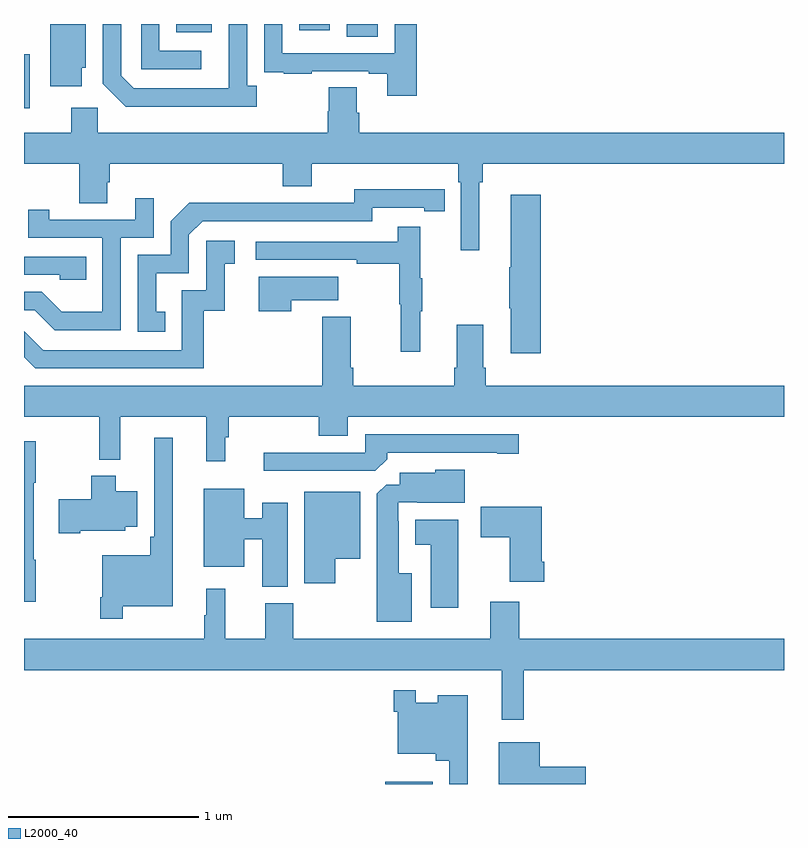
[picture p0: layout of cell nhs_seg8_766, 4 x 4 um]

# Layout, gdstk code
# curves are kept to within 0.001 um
import gdstk
lib = gdstk.Library(unit=1e-6, precision=1e-09)
def R(c, l, rs):  # rectangles x0, y0, x1, y1
    for r in rs: c.add(gdstk.rectangle(r[:2], r[2:], *l))
def P(c, l, *ps):  # polygons
    for p in ps: c.add(gdstk.Polygon(p, *l))
L2000_40 = (2000, 40)

nhs_seg8_766 = lib.new_cell('nhs_seg8_766')
R(nhs_seg8_766, L2000_40, [(162.902,1115.9,163.15,1115.911), (161,1119.456,161.029,1119.742), (162.698,1119.832,162.862,1119.9), (161.801,1119.857,161.989,1119.9), (162.449,1119.867,162.61,1119.9)])
P(nhs_seg8_766, L2000_40, [(161.305,1119.669),(161.326,1119.669),(161.326,1119.9),(161.139,1119.9),(161.139,1119.572),(161.305,1119.572)],
  [(162.226,1119.574),(162.174,1119.574),(162.174,1119.9),(162.078,1119.9),(162.077,1119.561),(161.577,1119.561),(161.511,1119.627),(161.511,1119.9),(161.415,1119.9),(161.415,1119.585),(161.536,1119.464),(162.226,1119.464)],
  [(161.932,1119.759),(161.712,1119.759),(161.712,1119.9),(161.616,1119.9),(161.616,1119.663),(161.932,1119.663)],
  [(163.067,1119.9),(162.951,1119.9),(162.951,1119.747),(162.36,1119.747),(162.36,1119.9),(162.264,1119.9),(162.264,1119.754),(162.265,1119.754),(162.265,1119.645),(162.367,1119.645),(162.367,1119.639),(162.515,1119.639),(162.515,1119.651),(162.815,1119.651),(162.815,1119.639),(162.911,1119.639),(162.911,1119.522),(163.067,1119.522)],
  [(163.396,1119.068),(163.415,1119.068),(163.415,1119.164),(165,1119.164),(165,1119.328),(162.764,1119.328),(162.764,1119.434),(162.751,1119.434),(162.751,1119.566),(162.604,1119.566),(162.604,1119.441),(162.599,1119.441),(162.599,1119.328),(161.388,1119.328),(161.388,1119.46),(161.249,1119.46),(161.249,1119.328),(161,1119.328),(161,1119.164),(161.29,1119.164),(161.29,1118.956),(161.437,1118.956),(161.437,1119.066),(161.45,1119.066),(161.45,1119.164),(162.362,1119.164),(162.362,1119.047),(162.514,1119.047),(162.514,1119.164),(163.286,1119.164),(163.286,1119.068),(163.299,1119.068),(163.299,1118.709),(163.396,1118.709)],
  [(161.744,1118.385),(161.695,1118.385),(161.695,1118.589),(161.868,1118.589),(161.868,1118.79),(161.94,1118.862),(162.834,1118.862),(162.834,1118.934),(163.106,1118.934),(163.106,1118.914),(163.214,1118.914),(163.214,1119.03),(162.738,1119.031),(162.738,1118.958),(162.278,1118.958),(162.278,1118.96),(161.87,1118.96),(161.772,1118.862),(161.772,1118.685),(161.598,1118.685),(161.598,1118.28),(161.744,1118.28)],
  [(163.721,1119.001),(163.562,1119.001),(163.562,1118.621),(163.555,1118.621),(163.555,1118.404),(163.562,1118.404),(163.562,1118.166),(163.721,1118.166)],
  [(161.508,1118.775),(161.682,1118.775),(161.682,1118.983),(161.585,1118.983),(161.585,1118.871),(161.134,1118.871),(161.134,1118.923),(161.023,1118.923),(161.023,1118.775),(161.412,1118.775),(161.412,1118.386),(161.198,1118.386),(161.094,1118.49),(161,1118.49),(161,1118.394),(161.057,1118.394),(161.162,1118.289),(161.508,1118.289)],
  [(163.085,1118.387),(163.096,1118.387),(163.096,1118.561),(163.085,1118.561),(163.085,1118.833),(162.967,1118.833),(162.967,1118.754),(162.219,1118.754),(162.219,1118.658),(162.751,1118.658),(162.751,1118.638),(162.975,1118.638),(162.975,1118.424),(162.982,1118.424),(162.982,1118.175),(163.085,1118.175)],
  [(161.945,1118.391),(162.056,1118.391),(162.056,1118.637),(162.109,1118.637),(162.109,1118.758),(161.958,1118.758),(161.958,1118.499),(161.829,1118.499),(161.829,1118.184),(161.1,1118.184),(161,1118.284),(161,1118.146),(161.058,1118.088),(161.945,1118.088)],
  [(161.327,1118.676),(161,1118.676),(161,1118.58),(161.187,1118.58),(161.187,1118.553),(161.327,1118.553)],
  [(162.407,1118.447),(162.655,1118.447),(162.655,1118.569),(162.236,1118.569),(162.236,1118.388),(162.407,1118.388)],
  [(162.059,1117.724),(162.077,1117.724),(162.077,1117.832),(162.551,1117.832),(162.551,1117.733),(162.703,1117.733),(162.703,1117.832),(165,1117.832),(165,1117.996),(163.43,1117.996),(163.43,1118.092),(163.417,1118.092),(163.417,1118.317),(163.277,1118.317),(163.277,1118.092),(163.265,1118.092),(163.265,1117.996),(162.734,1117.996),(162.734,1118.092),(162.721,1118.092),(162.721,1118.359),(162.569,1118.359),(162.569,1117.996),(161,1117.996),(161,1117.832),(161.397,1117.832),(161.397,1117.607),(161.507,1117.607),(161.507,1117.832),(161.96,1117.832),(161.96,1117.599),(162.059,1117.599)],
  [(162.911,1117.61),(162.911,1117.644),(163.49,1117.644),(163.49,1117.639),(163.603,1117.639),(163.603,1117.74),(162.795,1117.74),(162.795,1117.644),(162.261,1117.644),(162.261,1117.548),(162.849,1117.548)],
  [(161.521,1116.836),(161.782,1116.836),(161.782,1117.723),(161.685,1117.723),(161.685,1117.201),(161.665,1117.201),(161.665,1117.105),(161.412,1117.105),(161.412,1116.883),(161.4,1116.883),(161.4,1116.771),(161.521,1116.771)],
  [(161.062,1117.08),(161.05,1117.08),(161.05,1117.486),(161.062,1117.486),(161.062,1117.705),(161,1117.705),(161,1116.858),(161.062,1116.858)],
  [(163.042,1117.009),(162.973,1117.009),(162.973,1117.283),(162.969,1117.283),(162.969,1117.383),(163.069,1117.383),(163.069,1117.379),(163.321,1117.379),(163.321,1117.555),(163.164,1117.555),(163.164,1117.537),(162.977,1117.537),(162.977,1117.476),(162.906,1117.476),(162.857,1117.427),(162.857,1116.755),(163.042,1116.755)],
  [(161.296,1117.232),(161.532,1117.232),(161.532,1117.253),(161.596,1117.253),(161.596,1117.441),(161.482,1117.441),(161.482,1117.522),(161.353,1117.522),(161.353,1117.398),(161.184,1117.398),(161.184,1117.22),(161.296,1117.22)],
  [(162.388,1117.381),(162.254,1117.381),(162.254,1117.299),(162.16,1117.299),(162.16,1117.453),(161.945,1117.453),(161.945,1117.043),(162.16,1117.043),(162.16,1117.188),(162.254,1117.188),(162.254,1116.937),(162.388,1116.937)],
  [(162.637,1117.085),(162.769,1117.085),(162.769,1117.438),(162.476,1117.438),(162.476,1116.957),(162.637,1116.957)],
  [(163.739,1117.069),(163.726,1117.069),(163.726,1117.36),(163.404,1117.36),(163.404,1117.198),(163.556,1117.198),(163.556,1116.965),(163.739,1116.965)],
  [(163.285,1117.291),(163.058,1117.291),(163.058,1117.16),(163.142,1117.16),(163.142,1116.828),(163.285,1116.828)],
  [(163.631,1116.5),(165,1116.5),(165,1116.664),(163.607,1116.664),(163.607,1116.859),(163.454,1116.859),(163.454,1116.664),(162.417,1116.664),(162.417,1116.852),(162.269,1116.852),(162.269,1116.664),(162.059,1116.664),(162.059,1116.928),(161.96,1116.928),(161.96,1116.788),(161.949,1116.788),(161.949,1116.664),(161,1116.664),(161,1116.5),(163.514,1116.5),(163.514,1116.237),(163.631,1116.237)],
  [(163.336,1116.367),(163.178,1116.367),(163.178,1116.328),(163.062,1116.328),(163.062,1116.394),(162.946,1116.394),(162.946,1116.281),(162.966,1116.281),(162.966,1116.059),(163.166,1116.059),(163.166,1116.023),(163.239,1116.023),(163.239,1115.9),(163.336,1115.9)],
  [(163.957,1115.99),(163.714,1115.99),(163.714,1116.121),(163.499,1116.121),(163.499,1115.9),(163.957,1115.9)])

lib.write_gds('nhs_seg8_766.gds')
